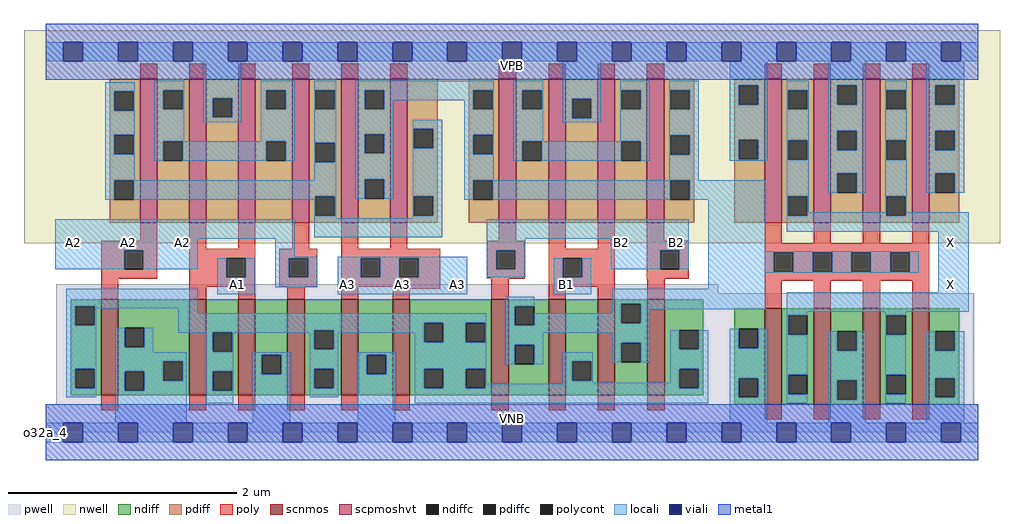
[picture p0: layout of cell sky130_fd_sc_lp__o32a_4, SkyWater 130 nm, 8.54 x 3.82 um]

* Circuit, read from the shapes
.subckt sky130_fd_sc_lp__o32a_4 A1 A2 A3 B1 B2 VGND VNB VPB VPWR X
XM1 VGND A2 n1 VNB sky130_fd_pr__nfet_01v8 w=0.84 l=0.15 m=2
XM2 n1 A1 VGND VNB sky130_fd_pr__nfet_01v8 w=0.84 l=0.15 m=2
XM3 VGND A3 n1 VNB sky130_fd_pr__nfet_01v8 w=0.84 l=0.15 m=2
XM4 n2 B2 n1 VNB sky130_fd_pr__nfet_01v8 w=0.84 l=0.15 m=2
XM5 n1 B1 n2 VNB sky130_fd_pr__nfet_01v8 w=0.84 l=0.15 m=2
XM6 X n2 VGND VNB sky130_fd_pr__nfet_01v8 w=0.84 l=0.15 m=4
XM7 n3 A2 n4 VPB sky130_fd_pr__pfet_01v8_hvt w=1.26 l=0.15 m=2
XM8 VPWR A1 n3 VPB sky130_fd_pr__pfet_01v8_hvt w=1.26 l=0.15 m=2
XM9 n2 A3 n4 VPB sky130_fd_pr__pfet_01v8_hvt w=1.26 l=0.15 m=2
XM10 n5 B2 n2 VPB sky130_fd_pr__pfet_01v8_hvt w=1.26 l=0.15 m=2
XM11 VPWR B1 n5 VPB sky130_fd_pr__pfet_01v8_hvt w=1.26 l=0.15 m=2
XM12 X n2 VPWR VPB sky130_fd_pr__pfet_01v8_hvt w=1.26 l=0.15 m=4
.ends

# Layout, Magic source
magic
tech sky130A
magscale 1 2
<< nwell >>
rect -38 331 1670 704
<< pwell >>
rect 18 243 1177 259
rect 18 49 1625 243
rect 0 0 1632 49
<< scnmos >>
rect 97 65 127 233
rect 251 65 281 233
rect 337 65 367 233
rect 423 65 453 233
rect 517 65 547 233
rect 607 65 637 233
rect 780 65 810 233
rect 880 65 910 233
rect 966 65 996 233
rect 1053 65 1083 233
rect 1258 49 1288 217
rect 1344 49 1374 217
rect 1430 49 1460 217
rect 1516 49 1546 217
<< scpmoshvt >>
rect 165 367 195 619
rect 251 367 281 619
rect 337 367 367 619
rect 431 367 461 619
rect 517 367 547 619
rect 603 367 633 619
rect 793 367 823 619
rect 880 367 910 619
rect 966 367 996 619
rect 1052 367 1082 619
rect 1258 367 1288 619
rect 1344 367 1374 619
rect 1430 367 1460 619
rect 1516 367 1546 619
<< ndiff >>
rect 44 221 97 233
rect 44 187 52 221
rect 86 187 97 221
rect 44 111 97 187
rect 44 77 52 111
rect 86 77 97 111
rect 44 65 97 77
rect 127 183 251 233
rect 127 149 138 183
rect 172 149 251 183
rect 127 124 251 149
rect 127 107 206 124
rect 127 73 138 107
rect 172 90 206 107
rect 240 90 251 124
rect 172 73 251 90
rect 127 65 251 73
rect 281 175 337 233
rect 281 141 292 175
rect 326 141 337 175
rect 281 107 337 141
rect 281 73 292 107
rect 326 73 337 107
rect 281 65 337 73
rect 367 136 423 233
rect 367 102 378 136
rect 412 102 423 136
rect 367 65 423 102
rect 453 179 517 233
rect 453 145 470 179
rect 504 145 517 179
rect 453 111 517 145
rect 453 77 470 111
rect 504 77 517 111
rect 453 65 517 77
rect 547 136 607 233
rect 547 102 562 136
rect 596 102 607 136
rect 547 65 607 102
rect 637 192 780 233
rect 637 158 662 192
rect 696 158 735 192
rect 769 158 780 192
rect 637 111 780 158
rect 637 77 662 111
rect 696 77 735 111
rect 769 77 780 111
rect 637 65 780 77
rect 810 221 880 233
rect 810 187 821 221
rect 855 187 880 221
rect 810 153 880 187
rect 810 119 821 153
rect 855 119 880 153
rect 810 65 880 119
rect 910 124 966 233
rect 910 90 921 124
rect 955 90 966 124
rect 910 65 966 90
rect 996 225 1053 233
rect 996 191 1007 225
rect 1041 191 1053 225
rect 996 157 1053 191
rect 996 123 1007 157
rect 1041 123 1053 157
rect 996 65 1053 123
rect 1083 179 1151 233
rect 1083 145 1109 179
rect 1143 145 1151 179
rect 1083 111 1151 145
rect 1083 77 1109 111
rect 1143 77 1151 111
rect 1083 65 1151 77
rect 1205 181 1258 217
rect 1205 147 1213 181
rect 1247 147 1258 181
rect 1205 95 1258 147
rect 1205 61 1213 95
rect 1247 61 1258 95
rect 1205 49 1258 61
rect 1288 205 1344 217
rect 1288 171 1299 205
rect 1333 171 1344 205
rect 1288 101 1344 171
rect 1288 67 1299 101
rect 1333 67 1344 101
rect 1288 49 1344 67
rect 1374 177 1430 217
rect 1374 143 1385 177
rect 1419 143 1430 177
rect 1374 91 1430 143
rect 1374 57 1385 91
rect 1419 57 1430 91
rect 1374 49 1430 57
rect 1460 205 1516 217
rect 1460 171 1471 205
rect 1505 171 1516 205
rect 1460 101 1516 171
rect 1460 67 1471 101
rect 1505 67 1516 101
rect 1460 49 1516 67
rect 1546 177 1599 217
rect 1546 143 1557 177
rect 1591 143 1599 177
rect 1546 95 1599 143
rect 1546 61 1557 95
rect 1591 61 1599 95
rect 1546 49 1599 61
<< pdiff >>
rect 112 597 165 619
rect 112 563 120 597
rect 154 563 165 597
rect 112 521 165 563
rect 112 487 120 521
rect 154 487 165 521
rect 112 441 165 487
rect 112 407 120 441
rect 154 407 165 441
rect 112 367 165 407
rect 195 599 251 619
rect 195 565 206 599
rect 240 565 251 599
rect 195 509 251 565
rect 195 475 206 509
rect 240 475 251 509
rect 195 367 251 475
rect 281 585 337 619
rect 281 551 292 585
rect 326 551 337 585
rect 281 367 337 551
rect 367 599 431 619
rect 367 565 386 599
rect 420 565 431 599
rect 367 509 431 565
rect 367 475 386 509
rect 420 475 431 509
rect 367 367 431 475
rect 461 599 517 619
rect 461 565 472 599
rect 506 565 517 599
rect 461 507 517 565
rect 461 473 472 507
rect 506 473 517 507
rect 461 413 517 473
rect 461 379 472 413
rect 506 379 517 413
rect 461 367 517 379
rect 547 599 603 619
rect 547 565 558 599
rect 592 565 603 599
rect 547 522 603 565
rect 547 488 558 522
rect 592 488 603 522
rect 547 443 603 488
rect 547 409 558 443
rect 592 409 603 443
rect 547 367 603 409
rect 633 531 686 619
rect 633 497 644 531
rect 678 497 686 531
rect 633 413 686 497
rect 633 379 644 413
rect 678 379 686 413
rect 633 367 686 379
rect 740 599 793 619
rect 740 565 748 599
rect 782 565 793 599
rect 740 521 793 565
rect 740 487 748 521
rect 782 487 793 521
rect 740 441 793 487
rect 740 407 748 441
rect 782 407 793 441
rect 740 367 793 407
rect 823 599 880 619
rect 823 565 834 599
rect 868 565 880 599
rect 823 509 880 565
rect 823 475 834 509
rect 868 475 880 509
rect 823 367 880 475
rect 910 584 966 619
rect 910 550 921 584
rect 955 550 966 584
rect 910 367 966 550
rect 996 599 1052 619
rect 996 565 1007 599
rect 1041 565 1052 599
rect 996 509 1052 565
rect 996 475 1007 509
rect 1041 475 1052 509
rect 996 367 1052 475
rect 1082 599 1135 619
rect 1082 565 1093 599
rect 1127 565 1135 599
rect 1082 520 1135 565
rect 1082 486 1093 520
rect 1127 486 1135 520
rect 1082 441 1135 486
rect 1082 407 1093 441
rect 1127 407 1135 441
rect 1082 367 1135 407
rect 1205 607 1258 619
rect 1205 573 1213 607
rect 1247 573 1258 607
rect 1205 512 1258 573
rect 1205 478 1213 512
rect 1247 478 1258 512
rect 1205 367 1258 478
rect 1288 599 1344 619
rect 1288 565 1299 599
rect 1333 565 1344 599
rect 1288 511 1344 565
rect 1288 477 1299 511
rect 1333 477 1344 511
rect 1288 413 1344 477
rect 1288 379 1299 413
rect 1333 379 1344 413
rect 1288 367 1344 379
rect 1374 607 1430 619
rect 1374 573 1385 607
rect 1419 573 1430 607
rect 1374 528 1430 573
rect 1374 494 1385 528
rect 1419 494 1430 528
rect 1374 453 1430 494
rect 1374 419 1385 453
rect 1419 419 1430 453
rect 1374 367 1430 419
rect 1460 599 1516 619
rect 1460 565 1471 599
rect 1505 565 1516 599
rect 1460 511 1516 565
rect 1460 477 1471 511
rect 1505 477 1516 511
rect 1460 413 1516 477
rect 1460 379 1471 413
rect 1505 379 1516 413
rect 1460 367 1516 379
rect 1546 607 1599 619
rect 1546 573 1557 607
rect 1591 573 1599 607
rect 1546 528 1599 573
rect 1546 494 1557 528
rect 1591 494 1599 528
rect 1546 453 1599 494
rect 1546 419 1557 453
rect 1591 419 1599 453
rect 1546 367 1599 419
<< ndiffc >>
rect 52 187 86 221
rect 52 77 86 111
rect 138 149 172 183
rect 138 73 172 107
rect 206 90 240 124
rect 292 141 326 175
rect 292 73 326 107
rect 378 102 412 136
rect 470 145 504 179
rect 470 77 504 111
rect 562 102 596 136
rect 662 158 696 192
rect 735 158 769 192
rect 662 77 696 111
rect 735 77 769 111
rect 821 187 855 221
rect 821 119 855 153
rect 921 90 955 124
rect 1007 191 1041 225
rect 1007 123 1041 157
rect 1109 145 1143 179
rect 1109 77 1143 111
rect 1213 147 1247 181
rect 1213 61 1247 95
rect 1299 171 1333 205
rect 1299 67 1333 101
rect 1385 143 1419 177
rect 1385 57 1419 91
rect 1471 171 1505 205
rect 1471 67 1505 101
rect 1557 143 1591 177
rect 1557 61 1591 95
<< pdiffc >>
rect 120 563 154 597
rect 120 487 154 521
rect 120 407 154 441
rect 206 565 240 599
rect 206 475 240 509
rect 292 551 326 585
rect 386 565 420 599
rect 386 475 420 509
rect 472 565 506 599
rect 472 473 506 507
rect 472 379 506 413
rect 558 565 592 599
rect 558 488 592 522
rect 558 409 592 443
rect 644 497 678 531
rect 644 379 678 413
rect 748 565 782 599
rect 748 487 782 521
rect 748 407 782 441
rect 834 565 868 599
rect 834 475 868 509
rect 921 550 955 584
rect 1007 565 1041 599
rect 1007 475 1041 509
rect 1093 565 1127 599
rect 1093 486 1127 520
rect 1093 407 1127 441
rect 1213 573 1247 607
rect 1213 478 1247 512
rect 1299 565 1333 599
rect 1299 477 1333 511
rect 1299 379 1333 413
rect 1385 573 1419 607
rect 1385 494 1419 528
rect 1385 419 1419 453
rect 1471 565 1505 599
rect 1471 477 1505 511
rect 1471 379 1505 413
rect 1557 573 1591 607
rect 1557 494 1591 528
rect 1557 419 1591 453
<< poly >>
rect 165 619 195 645
rect 251 619 281 645
rect 337 619 367 645
rect 431 619 461 645
rect 517 619 547 645
rect 603 619 633 645
rect 793 619 823 645
rect 880 619 910 645
rect 966 619 996 645
rect 1052 619 1082 645
rect 1258 619 1288 645
rect 1344 619 1374 645
rect 1430 619 1460 645
rect 1516 619 1546 645
rect 165 335 195 367
rect 97 319 195 335
rect 97 285 137 319
rect 171 285 195 319
rect 97 269 195 285
rect 251 321 281 367
rect 337 321 367 367
rect 431 321 461 367
rect 517 321 547 367
rect 603 321 633 367
rect 793 335 823 367
rect 251 305 367 321
rect 251 271 316 305
rect 350 271 367 305
rect 97 233 127 269
rect 251 255 367 271
rect 409 305 475 321
rect 409 271 425 305
rect 459 271 475 305
rect 409 255 475 271
rect 517 305 690 321
rect 517 271 551 305
rect 585 271 619 305
rect 653 271 690 305
rect 517 255 690 271
rect 772 319 838 335
rect 772 285 788 319
rect 822 285 838 319
rect 772 270 838 285
rect 251 233 281 255
rect 337 233 367 255
rect 423 233 453 255
rect 517 233 547 255
rect 607 251 690 255
rect 780 269 838 270
rect 880 321 910 367
rect 966 321 996 367
rect 880 305 996 321
rect 880 271 905 305
rect 939 271 996 305
rect 607 233 637 251
rect 780 233 810 269
rect 880 255 996 271
rect 1052 335 1082 367
rect 1052 319 1125 335
rect 1052 285 1075 319
rect 1109 285 1125 319
rect 1052 269 1125 285
rect 1258 331 1288 367
rect 1344 331 1374 367
rect 1430 331 1460 367
rect 1516 331 1546 367
rect 1258 315 1546 331
rect 1258 281 1274 315
rect 1308 281 1342 315
rect 1376 281 1410 315
rect 1444 281 1478 315
rect 1512 281 1546 315
rect 880 233 910 255
rect 966 233 996 255
rect 1053 233 1083 269
rect 1258 265 1546 281
rect 1258 217 1288 265
rect 1344 217 1374 265
rect 1430 217 1460 265
rect 1516 217 1546 265
rect 97 39 127 65
rect 251 39 281 65
rect 337 39 367 65
rect 423 39 453 65
rect 517 39 547 65
rect 607 39 637 65
rect 780 39 810 65
rect 880 39 910 65
rect 966 39 996 65
rect 1053 39 1083 65
rect 1258 23 1288 49
rect 1344 23 1374 49
rect 1430 23 1460 49
rect 1516 23 1546 49
<< polycont >>
rect 137 285 171 319
rect 316 271 350 305
rect 425 271 459 305
rect 551 271 585 305
rect 619 271 653 305
rect 788 285 822 319
rect 905 271 939 305
rect 1075 285 1109 319
rect 1274 281 1308 315
rect 1342 281 1376 315
rect 1410 281 1444 315
rect 1478 281 1512 315
<< locali >>
rect 0 649 31 683
rect 65 649 127 683
rect 161 649 223 683
rect 257 649 319 683
rect 353 649 415 683
rect 449 649 511 683
rect 545 649 607 683
rect 641 649 703 683
rect 737 649 799 683
rect 833 649 895 683
rect 929 649 991 683
rect 1025 649 1087 683
rect 1121 649 1183 683
rect 1217 649 1279 683
rect 1313 649 1375 683
rect 1409 649 1471 683
rect 1505 649 1567 683
rect 1601 649 1632 683
rect 104 597 156 613
rect 104 563 120 597
rect 154 563 156 597
rect 104 521 156 563
rect 104 487 120 521
rect 154 487 156 521
rect 104 441 156 487
rect 190 599 242 615
rect 190 565 206 599
rect 240 565 242 599
rect 190 509 242 565
rect 276 585 342 649
rect 276 551 292 585
rect 326 551 342 585
rect 276 543 342 551
rect 376 599 436 615
rect 376 565 386 599
rect 420 565 436 599
rect 376 509 436 565
rect 190 475 206 509
rect 240 475 386 509
rect 420 475 436 509
rect 470 599 508 615
rect 470 565 472 599
rect 506 565 508 599
rect 470 507 508 565
rect 470 473 472 507
rect 506 473 508 507
rect 470 441 508 473
rect 104 407 120 441
rect 154 413 508 441
rect 154 407 472 413
rect 470 379 472 407
rect 506 379 508 413
rect 542 599 784 615
rect 542 565 558 599
rect 592 581 748 599
rect 592 565 608 581
rect 542 522 608 565
rect 732 565 748 581
rect 782 565 784 599
rect 542 488 558 522
rect 592 488 608 522
rect 542 443 608 488
rect 542 409 558 443
rect 592 409 608 443
rect 642 531 694 547
rect 642 497 644 531
rect 678 497 694 531
rect 642 413 694 497
rect 470 375 508 379
rect 642 379 644 413
rect 678 379 694 413
rect 732 521 784 565
rect 732 487 748 521
rect 782 487 784 521
rect 732 441 784 487
rect 818 599 871 615
rect 818 565 834 599
rect 868 565 871 599
rect 818 509 871 565
rect 905 584 971 649
rect 905 550 921 584
rect 955 550 971 584
rect 905 543 971 550
rect 1005 599 1057 615
rect 1005 565 1007 599
rect 1041 565 1057 599
rect 1005 509 1057 565
rect 818 475 834 509
rect 868 475 1007 509
rect 1041 475 1057 509
rect 1091 599 1143 615
rect 1091 565 1093 599
rect 1127 565 1143 599
rect 1091 520 1143 565
rect 1091 486 1093 520
rect 1127 486 1143 520
rect 1091 441 1143 486
rect 1197 607 1263 649
rect 1197 573 1213 607
rect 1247 573 1263 607
rect 1197 512 1263 573
rect 1197 478 1213 512
rect 1247 478 1263 512
rect 1197 475 1263 478
rect 1297 599 1335 615
rect 1297 565 1299 599
rect 1333 565 1335 599
rect 1297 511 1335 565
rect 1297 477 1299 511
rect 1333 477 1335 511
rect 732 407 748 441
rect 782 407 1093 441
rect 1127 407 1260 441
rect 642 375 694 379
rect 17 339 436 373
rect 470 341 694 375
rect 17 319 266 339
rect 17 285 137 319
rect 171 285 266 319
rect 402 307 436 339
rect 772 339 1125 373
rect 772 319 839 339
rect 402 305 475 307
rect 300 271 316 305
rect 350 271 366 305
rect 36 221 266 251
rect 300 242 366 271
rect 402 271 425 305
rect 459 271 475 305
rect 402 254 475 271
rect 511 305 738 307
rect 511 271 551 305
rect 585 271 619 305
rect 653 271 738 305
rect 772 285 788 319
rect 822 285 839 319
rect 989 319 1125 339
rect 772 271 839 285
rect 889 271 905 305
rect 939 271 955 305
rect 989 285 1075 319
rect 1109 285 1125 319
rect 1159 317 1260 407
rect 1297 413 1335 477
rect 1369 607 1435 649
rect 1369 573 1385 607
rect 1419 573 1435 607
rect 1369 528 1435 573
rect 1369 494 1385 528
rect 1419 494 1435 528
rect 1369 453 1435 494
rect 1369 419 1385 453
rect 1419 419 1435 453
rect 1469 599 1507 615
rect 1469 565 1471 599
rect 1505 565 1507 599
rect 1469 511 1507 565
rect 1469 477 1471 511
rect 1505 477 1507 511
rect 1297 379 1299 413
rect 1333 385 1335 413
rect 1469 413 1507 477
rect 1541 607 1607 649
rect 1541 573 1557 607
rect 1591 573 1607 607
rect 1541 528 1607 573
rect 1541 494 1557 528
rect 1591 494 1607 528
rect 1541 453 1607 494
rect 1541 419 1557 453
rect 1591 419 1607 453
rect 1469 385 1471 413
rect 1333 379 1471 385
rect 1505 385 1507 413
rect 1505 379 1615 385
rect 1297 351 1615 379
rect 1159 315 1528 317
rect 511 242 738 271
rect 889 242 955 271
rect 1159 281 1274 315
rect 1308 281 1342 315
rect 1376 281 1410 315
rect 1444 281 1478 315
rect 1512 281 1528 315
rect 1159 279 1528 281
rect 1159 251 1260 279
rect 36 187 52 221
rect 86 217 266 221
rect 86 187 88 217
rect 36 111 88 187
rect 232 208 266 217
rect 805 221 855 237
rect 232 192 771 208
rect 36 77 52 111
rect 86 77 88 111
rect 36 61 88 77
rect 122 149 138 183
rect 172 149 188 183
rect 232 179 662 192
rect 232 175 470 179
rect 232 174 292 175
rect 122 140 188 149
rect 281 141 292 174
rect 326 174 470 175
rect 326 141 328 174
rect 122 124 247 140
rect 122 107 206 124
rect 122 73 138 107
rect 172 90 206 107
rect 240 90 247 124
rect 172 73 247 90
rect 122 17 247 73
rect 281 107 328 141
rect 462 145 470 174
rect 504 174 662 179
rect 504 145 512 174
rect 281 73 292 107
rect 326 73 328 107
rect 281 51 328 73
rect 362 136 428 140
rect 362 102 378 136
rect 412 102 428 136
rect 362 17 428 102
rect 462 111 512 145
rect 646 158 662 174
rect 696 158 735 192
rect 769 158 771 192
rect 462 77 470 111
rect 504 77 512 111
rect 462 61 512 77
rect 546 136 612 140
rect 546 102 562 136
rect 596 102 612 136
rect 546 17 612 102
rect 646 111 771 158
rect 805 187 821 221
rect 991 225 1260 251
rect 1562 245 1615 351
rect 991 208 1007 225
rect 855 191 1007 208
rect 1041 215 1260 225
rect 1041 191 1057 215
rect 855 187 1057 191
rect 805 174 1057 187
rect 1297 211 1615 245
rect 1297 205 1333 211
rect 805 153 871 174
rect 805 119 821 153
rect 855 119 871 153
rect 991 157 1057 174
rect 905 124 957 140
rect 646 77 662 111
rect 696 77 735 111
rect 769 85 771 111
rect 905 90 921 124
rect 955 90 957 124
rect 991 123 1007 157
rect 1041 123 1057 157
rect 1093 145 1109 179
rect 1143 145 1159 179
rect 905 87 957 90
rect 1093 111 1159 145
rect 1093 87 1109 111
rect 905 85 1109 87
rect 769 77 1109 85
rect 1143 77 1159 111
rect 646 51 1159 77
rect 1197 147 1213 181
rect 1247 147 1263 181
rect 1197 95 1263 147
rect 1197 61 1213 95
rect 1247 61 1263 95
rect 1197 17 1263 61
rect 1297 171 1299 205
rect 1469 205 1505 211
rect 1297 101 1333 171
rect 1297 67 1299 101
rect 1297 51 1333 67
rect 1369 143 1385 177
rect 1419 143 1435 177
rect 1369 91 1435 143
rect 1369 57 1385 91
rect 1419 57 1435 91
rect 1369 17 1435 57
rect 1469 171 1471 205
rect 1469 101 1505 171
rect 1469 67 1471 101
rect 1469 51 1505 67
rect 1541 143 1557 177
rect 1591 143 1607 177
rect 1541 95 1607 143
rect 1541 61 1557 95
rect 1591 61 1607 95
rect 1541 17 1607 61
rect 0 -17 31 17
rect 65 -17 127 17
rect 161 -17 223 17
rect 257 -17 319 17
rect 353 -17 415 17
rect 449 -17 511 17
rect 545 -17 607 17
rect 641 -17 703 17
rect 737 -17 799 17
rect 833 -17 895 17
rect 929 -17 991 17
rect 1025 -17 1087 17
rect 1121 -17 1183 17
rect 1217 -17 1279 17
rect 1313 -17 1375 17
rect 1409 -17 1471 17
rect 1505 -17 1567 17
rect 1601 -17 1632 17
<< viali >>
rect 31 649 65 683
rect 127 649 161 683
rect 223 649 257 683
rect 319 649 353 683
rect 415 649 449 683
rect 511 649 545 683
rect 607 649 641 683
rect 703 649 737 683
rect 799 649 833 683
rect 895 649 929 683
rect 991 649 1025 683
rect 1087 649 1121 683
rect 1183 649 1217 683
rect 1279 649 1313 683
rect 1375 649 1409 683
rect 1471 649 1505 683
rect 1567 649 1601 683
rect 31 -17 65 17
rect 127 -17 161 17
rect 223 -17 257 17
rect 319 -17 353 17
rect 415 -17 449 17
rect 511 -17 545 17
rect 607 -17 641 17
rect 703 -17 737 17
rect 799 -17 833 17
rect 895 -17 929 17
rect 991 -17 1025 17
rect 1087 -17 1121 17
rect 1183 -17 1217 17
rect 1279 -17 1313 17
rect 1375 -17 1409 17
rect 1471 -17 1505 17
rect 1567 -17 1601 17
<< metal1 >>
rect 0 683 1632 715
rect 0 649 31 683
rect 65 649 127 683
rect 161 649 223 683
rect 257 649 319 683
rect 353 649 415 683
rect 449 649 511 683
rect 545 649 607 683
rect 641 649 703 683
rect 737 649 799 683
rect 833 649 895 683
rect 929 649 991 683
rect 1025 649 1087 683
rect 1121 649 1183 683
rect 1217 649 1279 683
rect 1313 649 1375 683
rect 1409 649 1471 683
rect 1505 649 1567 683
rect 1601 649 1632 683
rect 0 617 1632 649
rect 0 17 1632 49
rect 0 -17 31 17
rect 65 -17 127 17
rect 161 -17 223 17
rect 257 -17 319 17
rect 353 -17 415 17
rect 449 -17 511 17
rect 545 -17 607 17
rect 641 -17 703 17
rect 737 -17 799 17
rect 833 -17 895 17
rect 929 -17 991 17
rect 1025 -17 1087 17
rect 1121 -17 1183 17
rect 1217 -17 1279 17
rect 1313 -17 1375 17
rect 1409 -17 1471 17
rect 1505 -17 1567 17
rect 1601 -17 1632 17
rect 0 -49 1632 -17
<< labels >>
flabel pwell s 0 0 1632 49 0 FreeSans 200 0 0 0 VNB
port 7 nsew ground bidirectional
flabel nwell s 0 617 1632 666 0 FreeSans 200 0 0 0 VPB
port 8 nsew power bidirectional
rlabel comment s 0 0 0 0 4 o32a_4
flabel metal1 s 0 617 1632 666 0 FreeSans 340 0 0 0 VPWR
port 9 nsew power bidirectional
flabel metal1 s 0 0 1632 49 0 FreeSans 340 0 0 0 VGND
port 6 nsew ground bidirectional
flabel locali s 319 242 353 276 0 FreeSans 340 0 0 0 A1
port 1 nsew signal input
flabel locali s 31 316 65 350 0 FreeSans 340 0 0 0 A2
port 2 nsew signal input
flabel locali s 127 316 161 350 0 FreeSans 340 0 0 0 A2
port 2 nsew signal input
flabel locali s 223 316 257 350 0 FreeSans 340 0 0 0 A2
port 2 nsew signal input
flabel locali s 511 242 545 276 0 FreeSans 340 0 0 0 A3
port 3 nsew signal input
flabel locali s 607 242 641 276 0 FreeSans 340 0 0 0 A3
port 3 nsew signal input
flabel locali s 703 242 737 276 0 FreeSans 340 0 0 0 A3
port 3 nsew signal input
flabel locali s 895 242 929 276 0 FreeSans 340 0 0 0 B1
port 4 nsew signal input
flabel locali s 1567 242 1601 276 0 FreeSans 340 0 0 0 X
port 10 nsew signal output
flabel locali s 1567 316 1601 350 0 FreeSans 340 0 0 0 X
port 10 nsew signal output
flabel locali s 991 316 1025 350 0 FreeSans 340 0 0 0 B2
port 5 nsew signal input
flabel locali s 1087 316 1121 350 0 FreeSans 340 0 0 0 B2
port 5 nsew signal input
<< properties >>
string LEFsite unit
string LEFclass CORE
string FIXED_BBOX 0 0 1632 666
string GDS_FILE $PDKPATH/libs.ref/sky130_fd_sc_lp/gds/sky130_fd_sc_lp.gds
string LEFsymmetry X Y R90
string GDS_END 1872074
string GDS_START 1858214
<< end >>
